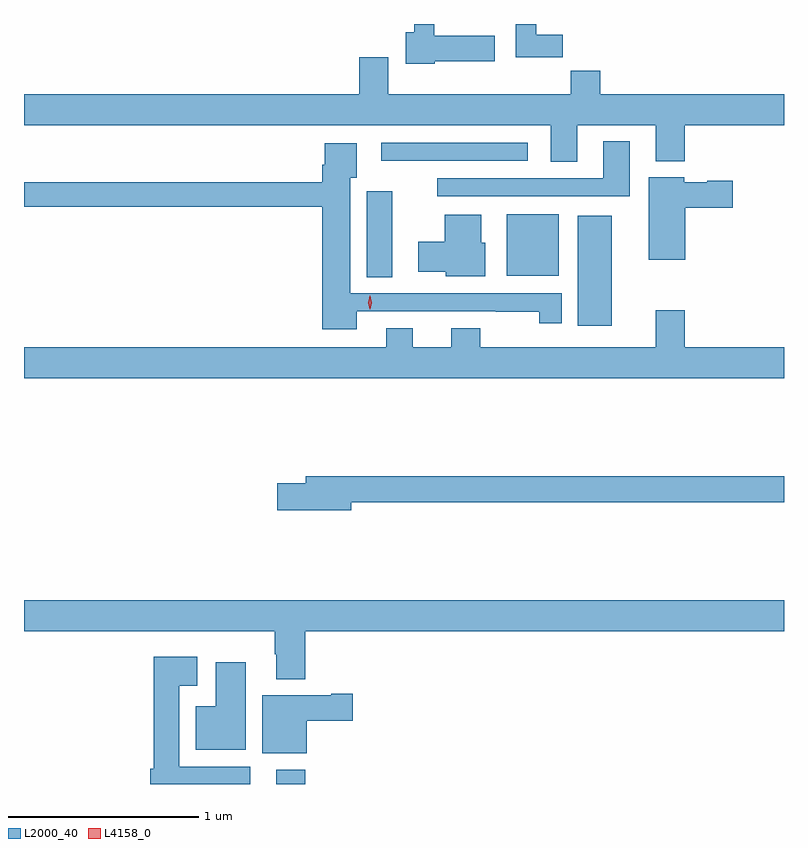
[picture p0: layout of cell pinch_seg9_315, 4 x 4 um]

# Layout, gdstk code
import gdstk
lib = gdstk.Library(unit=1e-6, precision=1e-09)
def R(c, l, rs):  # rectangles x0, y0, x1, y1
    for r in rs: c.add(gdstk.rectangle(r[:2], r[2:], *l))
def P(c, l, *ps):  # polygons
    for p in ps: c.add(gdstk.Polygon(p, *l))
L2000_40 = (2000, 40)
L4158_0 = (4158, 0)

pinch_seg9_315 = lib.new_cell('pinch_seg9_315')
R(pinch_seg9_315, L2000_40, [(565.817,1186.293,565.97,1186.369), (567.404,1188.704,567.583,1189.285), (566.294,1188.961,566.428,1189.414), (567.032,1188.968,567.304,1189.291), (566.37,1189.572,567.142,1189.668)])
P(pinch_seg9_315, L2000_40, [(567.326,1190.236),(567.187,1190.236),(567.187,1190.293),(567.077,1190.293),(567.077,1190.118),(567.326,1190.118)],
  [(566.652,1190.096),(566.968,1190.096),(566.968,1190.23),(566.65,1190.23),(566.65,1190.293),(566.543,1190.293),(566.543,1190.25),(566.498,1190.25),(566.498,1190.084),(566.652,1190.084)],
  [(567.403,1189.76),(567.815,1189.76),(567.815,1189.571),(567.968,1189.571),(567.968,1189.76),(568.49,1189.76),(568.49,1189.924),(567.524,1189.924),(567.524,1190.048),(567.367,1190.048),(567.367,1189.924),(566.407,1189.924),(566.407,1190.119),(566.255,1190.119),(566.255,1189.924),(564.49,1189.924),(564.49,1189.76),(567.263,1189.76),(567.263,1189.567),(567.403,1189.567)],
  [(567.679,1189.675),(567.539,1189.675),(567.539,1189.482),(566.664,1189.482),(566.664,1189.386),(567.679,1189.386)],
  [(566.242,1188.78),(566.974,1188.78),(566.974,1188.779),(567.202,1188.779),(567.202,1188.717),(567.319,1188.717),(567.319,1188.876),(566.206,1188.876),(566.206,1189.484),(566.242,1189.484),(566.242,1189.666),(566.072,1189.666),(566.072,1189.553),(566.06,1189.553),(566.06,1189.459),(564.49,1189.459),(564.49,1189.33),(566.06,1189.33),(566.06,1188.686),(566.242,1188.686)],
  [(567.97,1189.325),(568.219,1189.325),(568.219,1189.467),(568.086,1189.467),(568.086,1189.459),(567.966,1189.459),(567.966,1189.486),(567.779,1189.486),(567.779,1189.052),(567.97,1189.052)],
  [(566.917,1189.143),(566.896,1189.143),(566.896,1189.288),(566.705,1189.288),(566.705,1189.147),(566.565,1189.147),(566.565,1188.989),(566.709,1188.989),(566.709,1188.965),(566.917,1188.965)],
  [(568.49,1188.592),(567.968,1188.592),(567.968,1188.787),(567.815,1188.787),(567.815,1188.592),(566.891,1188.592),(566.891,1188.691),(566.738,1188.691),(566.738,1188.592),(566.536,1188.592),(566.536,1188.691),(566.396,1188.691),(566.396,1188.592),(564.49,1188.592),(564.49,1188.428),(568.49,1188.428)],
  [(566.212,1187.776),(568.49,1187.776),(568.49,1187.912),(565.973,1187.912),(565.973,1187.876),(565.824,1187.876),(565.824,1187.734),(566.212,1187.734)],
  [(565.97,1187.096),(568.49,1187.096),(568.49,1187.26),(564.49,1187.26),(564.49,1187.096),(565.81,1187.096),(565.81,1186.976),(565.817,1186.976),(565.817,1186.844),(565.97,1186.844)],
  [(565.681,1186.384),(565.306,1186.384),(565.306,1186.811),(565.402,1186.811),(565.402,1186.963),(565.172,1186.963),(565.172,1186.374),(565.154,1186.374),(565.154,1186.293),(565.681,1186.293)],
  [(565.657,1186.933),(565.499,1186.933),(565.499,1186.702),(565.394,1186.702),(565.394,1186.472),(565.657,1186.472)],
  [(565.978,1186.625),(566.221,1186.625),(566.221,1186.767),(566.108,1186.767),(566.108,1186.759),(565.745,1186.759),(565.745,1186.454),(565.978,1186.454)])
P(pinch_seg9_315, L4158_0, [(566.311,1188.791),(566.311,1188.791),(566.301,1188.827),(566.311,1188.863),(566.311,1188.863),(566.312,1188.863),(566.321,1188.827),(566.312,1188.791)])

lib.write_gds('pinch_seg9_315.gds')
